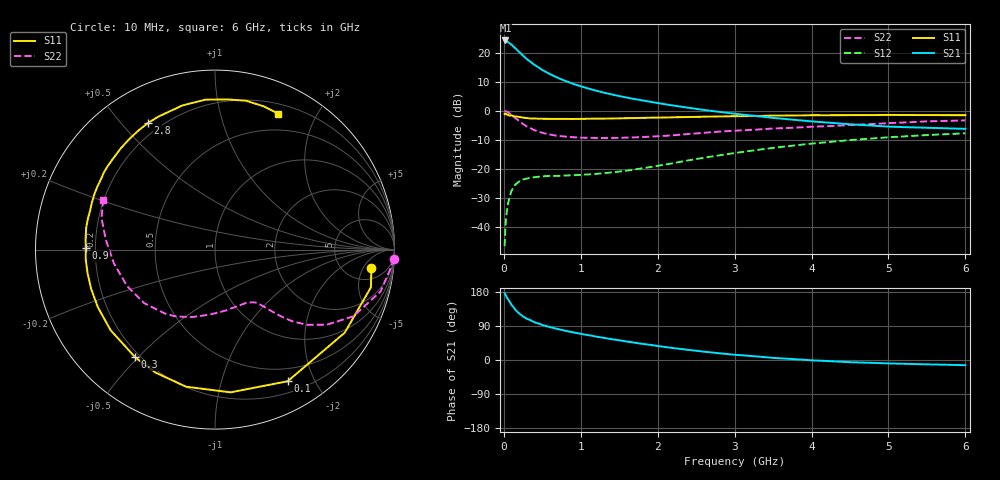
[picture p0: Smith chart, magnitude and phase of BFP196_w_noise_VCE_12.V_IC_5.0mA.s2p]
! Infineon Technologies  Discrete & RF Semiconductors
! BFP196
! VCE =  12. V,  IC =  5.0 mA
! Common Emitter S-Parameters:  Jan 2017
# GHz  S  MA  R  50
!  f  S11  S21  S12  S22
! GHz  MAG  ANG  MAG  ANG  MAG  ANG  MAG  ANG
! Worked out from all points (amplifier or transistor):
!   77 points, 10 MHz to 6 GHz, reference 50 ohm
!   highest |S21| = 24.3 dB at 20 MHz (marker M1)
!   |S21| within 3 dB of that: start of sweep to 161.1 MHz
!   unconditionally stable (mu >= 1): 1.212 GHz to 2.331 GHz
!   at 130 MHz: K = 0.14, MSG = 24.2 dB, |S12| = -26.3 dB
!   at 2.2 GHz: K = 1.03, MAG = 8.8 dB, |S12| = -18.1 dB
!   at 6 GHz: K = 0.93, MSG = 0.8 dB, |S12| = -7.8 dB
!   lowest NFmin = 1.01 dB at 450 MHz
!   S11 on the Smith chart (normalised r, x): 10 MHz: 8, -8; 100 MHz: 0.33, -1.64; 300 MHz: 0.18, -0.49; 900 MHz: 0.16, +0.01; 2.8 GHz: 0.15, +0.59; 6 GHz: 0.30, +1.53
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0.01  0.8777 -6.8  16.09 176.2  0.0046 80.1  0.999 -2.9
0.02  0.8938 -13.6  16.32 172.5  0.0097 85.4  0.9849 -5.9
0.05  0.8583 -32.6  15.5 161.4  0.0235 72.3  0.9515 -14.2
0.1  0.8378 -61.1  13.87 145.5  0.0415 60.5  0.8562 -25.7
0.15  0.8 -83.8  11.95 132.5  0.0534 48.5  0.75 -33.9
0.2  0.7806 -101.9  10.29 122.7  0.0601 42.0  0.6621 -39.3
0.25  0.7612 -115.8  8.899 114.7  0.0653 36.2  0.5904 -42.7
0.3  0.7469 -126.5  7.762 108.9  0.0676 33.1  0.5346 -44.9
0.4  0.7348 -142.3  6.161 99.5  0.0713 28.5  0.4609 -47.6
0.5  0.7273 -153.8  5.05 92.5  0.0737 26.9  0.4161 -49.5
0.6  0.724 -162.4  4.286 86.7  0.0751 26.5  0.3875 -51.2
0.7  0.7221 -169.3  3.704 81.8  0.0749 26.9  0.3687 -52.9
0.9  0.7202 179.3  2.913 73.0  0.077 29.0  0.3493 -57.5
1.1  0.7281 170.3  2.413 65.5  0.0796 32.7  0.341 -63.0
1.3  0.7293 162.4  2.054 58.5  0.0836 36.7  0.3389 -69.4
1.5  0.7397 155.3  1.791 51.9  0.0892 41.1  0.3402 -76.3
2.1  0.7643 136.0  1.293 34.3  0.1182 50.3  0.3693 -98.3
2.8  0.798 117.9  0.956 17.7  0.1697 51.6  0.436 -122.0
3.1  0.8067 111.0  0.859 12.4  0.1944 49.6  0.4587 -131.3
4.1  0.836 92.0  0.64 -1.7  0.2785 39.1  0.5351 -160.6
5.1  0.8454 76.8  0.527 -9.5  0.3543 25.3  0.6186 172.6
6  0.8358 65.0  0.487 -13.6  0.4084 12.9  0.6811 156.2
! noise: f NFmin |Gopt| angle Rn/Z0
0.45  1.01  0.42  127  0.08
0.9  1.47  0.55  170  0.06
1.9  2.9  0.74  -142  0.31
2.4  3.55  0.76  -125  0.95
